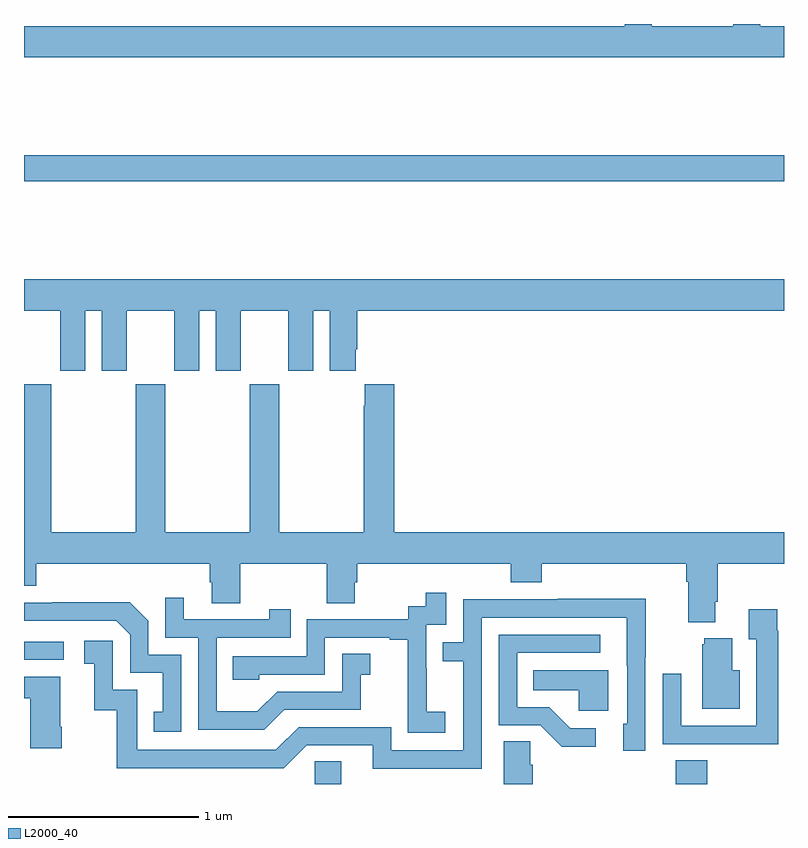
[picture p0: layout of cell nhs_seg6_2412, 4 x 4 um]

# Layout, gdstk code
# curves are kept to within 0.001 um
import gdstk
lib = gdstk.Library(unit=1e-6, precision=1e-09)
def R(c, l, rs):  # rectangles x0, y0, x1, y1
    for r in rs: c.add(gdstk.rectangle(r[:2], r[2:], *l))
def P(c, l, *ps):  # polygons
    for p in ps: c.add(gdstk.Polygon(p, *l))
L2000_40 = (2000, 40)

nhs_seg6_2412 = lib.new_cell('nhs_seg6_2412')
R(nhs_seg6_2412, L2000_40, [(256.53,955.5,256.669,955.619), (258.431,955.5,258.596,955.625), (255,956.154,255.208,956.25), (255,958.672,259,958.808)])
P(nhs_seg6_2412, L2000_40, [(259,959.488),(258.874,959.488),(258.874,959.5),(258.734,959.5),(258.734,959.488),(258.304,959.488),(258.304,959.5),(258.161,959.5),(258.161,959.488),(255,959.488),(255,959.324),(259,959.324)],
  [(255.322,957.992),(255.41,957.992),(255.41,957.675),(255.541,957.675),(255.541,957.992),(255.791,957.992),(255.791,957.675),(255.922,957.675),(255.922,957.992),(256.01,957.992),(256.01,957.675),(256.141,957.675),(256.141,957.992),(256.391,957.992),(256.391,957.675),(256.522,957.675),(256.522,957.992),(256.61,957.992),(256.61,957.675),(256.747,957.675),(256.747,957.787),(256.754,957.787),(256.754,957.992),(259,957.992),(259,958.156),(255,958.156),(255,957.992),(255.191,957.992),(255.191,957.675),(255.322,957.675)],
  [(258.637,956.458),(258.65,956.458),(258.65,956.66),(259,956.66),(259,956.824),(256.949,956.824),(256.949,957.604),(256.793,957.604),(256.793,957.491),(256.789,957.491),(256.789,956.824),(256.344,956.824),(256.344,957.604),(256.189,957.604),(256.189,956.824),(255.744,956.824),(255.744,957.604),(255.589,957.604),(255.589,956.824),(255.144,956.824),(255.144,957.604),(255,957.604),(255,956.543),(255.065,956.543),(255.065,956.66),(255.977,956.66),(255.977,956.562),(255.989,956.562),(255.989,956.452),(256.137,956.452),(256.137,956.66),(256.594,956.66),(256.594,956.452),(256.741,956.452),(256.741,956.562),(256.754,956.562),(256.754,956.66),(257.561,956.66),(257.561,956.561),(257.726,956.561),(257.726,956.66),(258.485,956.66),(258.485,956.564),(258.497,956.564),(258.497,956.351),(258.637,956.351)],
  [(257.218,955.879),(257.12,955.879),(257.12,956.108),(257.118,956.108),(257.118,956.337),(257.223,956.337),(257.223,956.506),(257.115,956.506),(257.115,956.436),(257.022,956.436),(257.022,956.367),(256.488,956.367),(256.488,956.172),(256.099,956.172),(256.099,956.049),(256.239,956.049),(256.239,956.076),(256.584,956.076),(256.584,956.271),(256.925,956.271),(256.925,956.259),(257.021,956.259),(257.021,955.975),(257.02,955.975),(257.02,955.769),(257.218,955.769)],
  [(256.369,955.89),(256.773,955.89),(256.773,956.075),(256.822,956.075),(256.822,956.185),(256.674,956.185),(256.674,955.986),(256.332,955.986),(256.228,955.882),(256.014,955.882),(256.014,956.271),(256.403,956.271),(256.403,956.419),(256.292,956.419),(256.292,956.367),(255.841,956.367),(255.841,956.479),(255.744,956.479),(255.744,956.271),(255.918,956.271),(255.918,955.785),(256.264,955.785)],
  [(257.409,956.376),(258.173,956.376),(258.174,955.818),(258.155,955.818),(258.155,955.674),(258.27,955.674),(258.27,956.167),(258.273,956.167),(258.273,956.474),(257.809,956.474),(257.809,956.472),(257.313,956.472),(257.313,956.247),(257.203,956.247),(257.203,956.146),(257.313,956.146),(257.313,955.677),(256.932,955.677),(256.932,955.8),(256.446,955.8),(256.326,955.68),(255.597,955.68),(255.597,955.995),(255.468,955.995),(255.468,956.254),(255.318,956.254),(255.318,956.133),(255.371,956.133),(255.371,955.887),(255.489,955.887),(255.489,955.584),(256.368,955.584),(256.488,955.704),(256.835,955.704),(256.835,955.581),(257.409,955.581)],
  [(255.828,956.181),(255.654,956.181),(255.654,956.358),(255.556,956.456),(255.148,956.456),(255.148,956.454),(255,956.454),(255,956.358),(255.486,956.358),(255.558,956.286),(255.558,956.085),(255.731,956.085),(255.731,955.881),(255.682,955.881),(255.682,955.776),(255.828,955.776)],
  [(258.971,956.306),(258.964,956.306),(258.964,956.419),(258.815,956.419),(258.815,956.263),(258.855,956.263),(258.855,955.806),(258.459,955.806),(258.459,956.08),(258.363,956.08),(258.363,955.71),(258.679,955.71),(258.679,955.709),(258.971,955.709)],
  [(258.01,955.794),(257.875,955.794),(257.764,955.905),(257.595,955.905),(257.595,956.19),(258.034,956.19),(258.034,956.286),(257.499,956.286),(257.499,955.809),(257.718,955.809),(257.831,955.697),(258.01,955.697)],
  [(258.766,956.098),(258.727,956.098),(258.727,956.266),(258.581,956.266),(258.581,956.235),(258.569,956.235),(258.569,955.895),(258.766,955.895)],
  [(258.076,956.098),(257.68,956.098),(257.68,955.994),(257.919,955.994),(257.919,955.886),(258.076,955.886)],
  [(255.198,955.801),(255.19,955.801),(255.19,956.065),(255,956.065),(255,955.951),(255.032,955.951),(255.032,955.689),(255.198,955.689)],
  [(257.678,955.601),(257.664,955.601),(257.664,955.724),(257.525,955.724),(257.525,955.5),(257.678,955.5)])

lib.write_gds('nhs_seg6_2412.gds')
